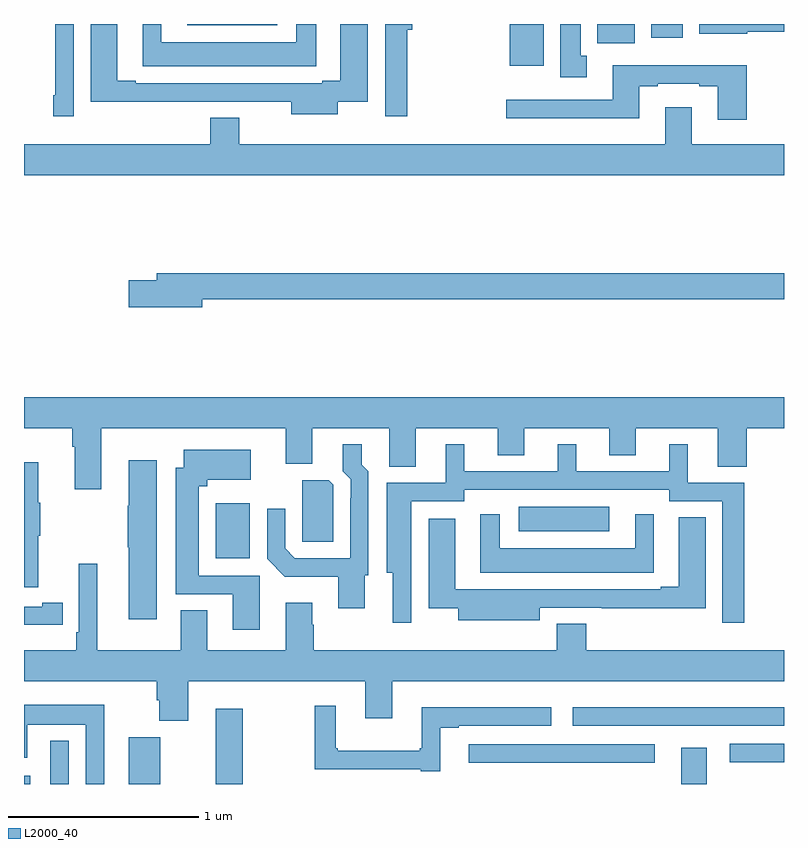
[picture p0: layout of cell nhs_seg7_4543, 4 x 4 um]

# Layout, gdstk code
import gdstk
lib = gdstk.Library(unit=1e-6, precision=1e-09)
def R(c, l, rs):  # rectangles x0, y0, x1, y1
    for r in rs: c.add(gdstk.rectangle(r[:2], r[2:], *l))
def P(c, l, *ps):  # polygons
    for p in ps: c.add(gdstk.Polygon(p, *l))
L2000_40 = (2000, 40)

nhs_seg7_4543 = lib.new_cell('nhs_seg7_4543')
R(nhs_seg7_4543, L2000_40, [(395,1076,395.032,1076.044), (395.139,1076,395.235,1076.227), (395.552,1076,395.716,1076.247), (398.459,1076,398.593,1076.191), (397.341,1076.111,398.32,1076.208), (398.715,1076.114,399,1076.211), (397.887,1076.307,399,1076.404), (396.008,1077.188,396.187,1077.478), (397.605,1077.329,398.08,1077.46), (397.556,1079.78,397.735,1080), (398.018,1079.9,398.215,1080), (398.3,1079.928,398.467,1080), (395.859,1079.993,396.334,1080)])
P(nhs_seg7_4543, L2000_40, [(396.652,1079.59),(396.808,1079.59),(396.808,1080),(396.665,1080),(396.665,1079.701),(396.569,1079.701),(396.569,1079.688),(395.587,1079.688),(395.587,1079.701),(395.491,1079.701),(395.491,1080),(395.351,1080),(395.351,1079.59),(395.897,1079.59),(395.897,1079.592),(396.407,1079.592),(396.407,1079.525),(396.652,1079.525)],
  [(396.538,1080),(396.434,1080),(396.434,1079.905),(395.722,1079.905),(395.722,1080),(395.624,1080),(395.624,1079.777),(396.538,1079.777)],
  [(397.963,1079.834),(397.93,1079.834),(397.93,1080),(397.823,1080),(397.823,1079.721),(397.963,1079.721)],
  [(395.262,1080),(395.165,1080),(395.165,1079.626),(395.154,1079.626),(395.154,1079.514),(395.262,1079.514)],
  [(397.016,1079.969),(397.043,1079.969),(397.043,1080),(396.9,1080),(396.9,1079.514),(397.016,1079.514)],
  [(398.806,1079.959),(399,1079.959),(399,1080),(398.555,1080),(398.555,1079.948),(398.806,1079.948)],
  [(398.804,1079.782),(398.099,1079.782),(398.099,1079.601),(397.539,1079.601),(397.539,1079.504),(398.239,1079.504),(398.239,1079.673),(398.335,1079.673),(398.335,1079.685),(398.555,1079.685),(398.555,1079.673),(398.651,1079.673),(398.651,1079.496),(398.804,1079.496)],
  [(399,1079.368),(398.515,1079.368),(398.515,1079.563),(398.375,1079.563),(398.375,1079.368),(396.133,1079.368),(396.133,1079.507),(395.981,1079.507),(395.981,1079.368),(395,1079.368),(395,1079.204),(399,1079.204)],
  [(395.938,1078.552),(399,1078.552),(399,1078.688),(395.699,1078.688),(395.699,1078.652),(395.55,1078.652),(395.55,1078.51),(395.938,1078.51)],
  [(395,1077.872),(395.255,1077.872),(395.255,1077.776),(395.267,1077.776),(395.267,1077.552),(395.407,1077.552),(395.407,1077.872),(396.377,1077.872),(396.377,1077.685),(396.517,1077.685),(396.517,1077.872),(396.923,1077.872),(396.923,1077.67),(397.063,1077.67),(397.063,1077.872),(397.493,1077.872),(397.493,1077.73),(397.633,1077.73),(397.633,1077.872),(398.081,1077.872),(398.081,1077.73),(398.221,1077.73),(398.221,1077.872),(398.651,1077.872),(398.651,1077.67),(398.804,1077.67),(398.804,1077.872),(399,1077.872),(399,1078.036),(395,1078.036)],
  [(397.038,1077.217),(397.039,1077.217),(397.039,1077.489),(397.317,1077.489),(397.317,1077.549),(398.397,1077.549),(398.397,1077.489),(398.676,1077.489),(398.676,1076.85),(398.792,1076.85),(398.792,1077.585),(398.494,1077.585),(398.494,1077.787),(398.396,1077.787),(398.396,1077.645),(397.906,1077.645),(397.906,1077.787),(397.808,1077.787),(397.808,1077.645),(397.318,1077.645),(397.318,1077.787),(397.22,1077.787),(397.22,1077.585),(396.908,1077.585),(396.908,1077.113),(396.941,1077.113),(396.941,1076.85),(397.038,1076.85)],
  [(396.793,1077.099),(396.813,1077.099),(396.813,1077.645),(396.778,1077.68),(396.778,1077.787),(396.677,1077.787),(396.677,1077.646),(396.72,1077.603),(396.72,1077.503),(396.717,1077.503),(396.717,1077.189),(396.426,1077.189),(396.375,1077.24),(396.375,1077.448),(396.279,1077.448),(396.279,1077.186),(396.373,1077.092),(396.653,1077.092),(396.653,1076.925),(396.793,1076.925)],
  [(396.241,1077.096),(395.92,1077.096),(395.92,1077.566),(395.965,1077.566),(395.965,1077.602),(396.193,1077.602),(396.193,1077.76),(395.84,1077.76),(395.84,1077.664),(395.798,1077.664),(395.798,1077),(396.098,1077),(396.098,1076.811),(396.241,1076.811)],
  [(395.698,1077.703),(395.552,1077.703),(395.552,1077.464),(395.545,1077.464),(395.545,1077.247),(395.552,1077.247),(395.552,1076.868),(395.698,1076.868)],
  [(395.075,1077.307),(395.086,1077.307),(395.086,1077.481),(395.075,1077.481),(395.075,1077.694),(395,1077.694),(395,1077.036),(395.075,1077.036)],
  [(396.627,1077.576),(396.603,1077.6),(396.464,1077.6),(396.464,1077.385),(396.465,1077.385),(396.465,1077.274),(396.627,1077.274)],
  [(398.314,1077.421),(398.216,1077.421),(398.216,1077.241),(397.504,1077.241),(397.504,1077.421),(397.4,1077.421),(397.4,1077.113),(398.314,1077.113)],
  [(397.714,1076.928),(398.041,1076.928),(398.041,1076.926),(398.587,1076.926),(398.587,1077.403),(398.447,1077.403),(398.447,1077.037),(398.351,1077.037),(398.351,1077.024),(397.61,1077.024),(397.61,1077.025),(397.27,1077.025),(397.27,1077.397),(397.13,1077.397),(397.13,1076.926),(397.286,1076.926),(397.286,1076.861),(397.714,1076.861)],
  [(395.864,1076.54),(396.797,1076.54),(396.797,1076.346),(396.937,1076.346),(396.937,1076.54),(399,1076.54),(399,1076.704),(397.958,1076.704),(397.958,1076.843),(397.805,1076.843),(397.805,1076.704),(396.525,1076.704),(396.525,1076.837),(396.517,1076.837),(396.517,1076.953),(396.377,1076.953),(396.377,1076.704),(395.965,1076.704),(395.965,1076.915),(395.825,1076.915),(395.825,1076.704),(395.386,1076.704),(395.386,1077.16),(395.289,1077.16),(395.289,1076.8),(395.276,1076.8),(395.276,1076.704),(395,1076.704),(395,1076.54),(395.699,1076.54),(395.699,1076.441),(395.711,1076.441),(395.711,1076.332),(395.864,1076.332)],
  [(395.096,1076.838),(395.204,1076.838),(395.204,1076.954),(395.096,1076.954),(395.096,1076.934),(395,1076.934),(395,1076.837),(395.096,1076.837)],
  [(395.422,1076.416),(395,1076.416),(395,1076.138),(395.016,1076.138),(395.016,1076.312),(395.325,1076.312),(395.325,1076),(395.422,1076)],
  [(397.192,1076.295),(397.288,1076.295),(397.288,1076.307),(397.774,1076.307),(397.774,1076.404),(397.094,1076.404),(397.094,1076.188),(397.083,1076.188),(397.083,1076.176),(396.652,1076.176),(396.652,1076.188),(396.64,1076.188),(396.64,1076.413),(396.531,1076.413),(396.531,1076.078),(397.088,1076.078),(397.088,1076.067),(397.192,1076.067)],
  [(396.15,1076.395),(396.008,1076.395),(396.008,1076.074),(396.009,1076.074),(396.009,1076),(396.15,1076)])

lib.write_gds('nhs_seg7_4543.gds')
